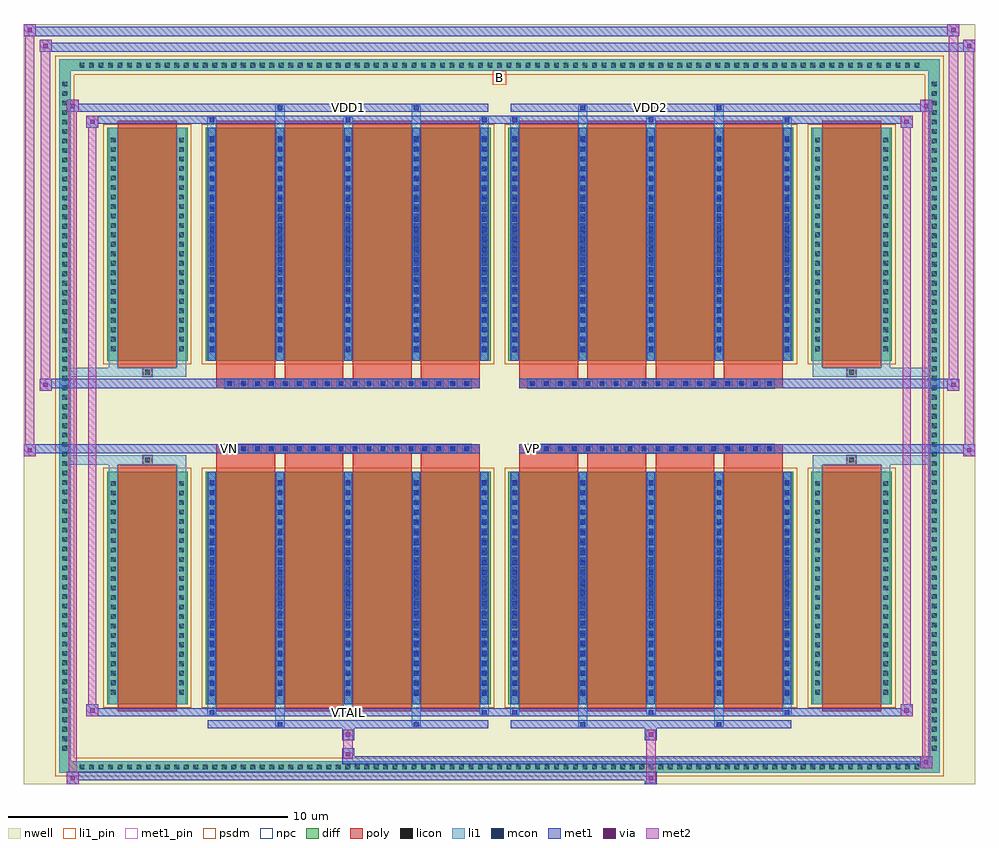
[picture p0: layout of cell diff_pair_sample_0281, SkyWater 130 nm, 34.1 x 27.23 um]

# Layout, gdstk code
import gdstk
lib = gdstk.Library(unit=1e-6, precision=5e-09)
def R(c, l, rs):  # rectangles x0, y0, x1, y1
    for r in rs: c.add(gdstk.rectangle(r[:2], r[2:], *l))
def A(c, l, x, y, w, h, nx, ny, dx, dy):  # array of equal rectangles
    R(c, l, [(x+i*dx, y+j*dy, x+i*dx+w, y+j*dy+h) for i in range(nx) for j in range(ny)])
def P(c, l, *ps):  # polygons
    for p in ps: c.add(gdstk.Polygon(p, *l))
nwell = (64, 20)
diff = (65, 20)
poly = (66, 20)
licon = (66, 44)
li1_pin = (67, 16)
li1 = (67, 20)
mcon = (67, 44)
met1_pin = (68, 16)
met1 = (68, 20)
via = (68, 44)
met2 = (69, 20)
psdm = (94, 20)
npc = (95, 20)

diff_pair_sample_0281 = lib.new_cell('diff_pair_sample_0281')
R(diff_pair_sample_0281, nwell, [(-17.05,-13.18,17.05,14.05), (-14.37,-11.37,-0.01,-0.805), (0.01,-11.37,14.37,-0.805), (-14.37,0.805,-0.01,11.37), (0.01,0.805,14.37,11.37)])
A(diff_pair_sample_0281, diff, -15.165, -12.78, 0.41, 0.41, 89, 2, 0.34, 25.15)
A(diff_pair_sample_0281, diff, -15.78, -12.105, 0.41, 0.41, 1, 71, 0, 0.34)
A(diff_pair_sample_0281, diff, 15.37, -12.105, 0.41, 0.41, 1, 71, 0, 0.34)
R(diff_pair_sample_0281, diff, [(-15.165,-12.78,15.165,-12.37), (-15.78,-12.105,-15.37,12.105), (15.37,-12.105,15.78,12.105), (-14.06,-10.325,-11.17,-1.985), (-10.53,-10.325,-0.32,-1.985), (0.32,-10.325,10.53,-1.985), (11.17,-10.325,14.06,-1.985), (-14.06,1.985,-11.17,10.325), (-10.53,1.985,-0.32,10.325), (0.32,1.985,10.53,10.325), (11.17,1.985,14.06,10.325), (-15.165,12.37,15.165,12.78)])
P(diff_pair_sample_0281, diff, [(15.78,12.78),(-15.78,12.78),(-15.78,-12.37),(-15.37,-12.37),(-15.37,12.37),(15.37,12.37),(15.37,-12.37),(-15.37,-12.37),(-15.78,-12.37),(-15.78,-12.78),(15.78,-12.78)])
A(diff_pair_sample_0281, poly, -10.14, -10.575, 2.11, 8.84, 4, 2, 2.44, 12.31)
A(diff_pair_sample_0281, poly, 0.71, -10.575, 2.11, 8.84, 4, 2, 2.44, 12.31)
A(diff_pair_sample_0281, poly, -10.14, -1.735, 2.11, 0.4, 4, 2, 2.44, 3.07)
A(diff_pair_sample_0281, poly, 0.71, -1.735, 2.11, 0.4, 4, 2, 2.44, 3.07)
A(diff_pair_sample_0281, poly, -9.84, -1.335, 0.33, 0.33, 18, 2, 0.5, 2.34)
A(diff_pair_sample_0281, poly, 1.01, -1.335, 0.33, 0.33, 18, 2, 0.5, 2.34)
R(diff_pair_sample_0281, poly, [(-13.67,-10.575,-11.56,-1.735), (11.56,-10.575,13.67,-1.735), (-12.78,-1.735,-12.45,-1.405), (-12.78,-1.735,-12.45,-1.405), (12.45,-1.735,12.78,-1.405), (12.45,-1.735,12.78,-1.405), (-10.14,-1.335,-0.71,-1.005), (0.71,-1.335,10.14,-1.005), (-10.14,1.005,-0.71,1.335), (0.71,1.005,10.14,1.335), (-12.78,1.405,-12.45,1.735), (-12.78,1.405,-12.45,1.735), (12.45,1.405,12.78,1.735), (12.45,1.405,12.78,1.735), (-13.67,1.735,-11.56,10.575), (11.56,1.735,13.67,10.575)])
A(diff_pair_sample_0281, licon, -15.045, -12.66, 0.17, 0.17, 89, 2, 0.34, 25.15)
A(diff_pair_sample_0281, licon, -15.66, -11.985, 0.17, 0.17, 1, 71, 0, 0.34)
A(diff_pair_sample_0281, licon, 15.49, -11.985, 0.17, 0.17, 1, 71, 0, 0.34)
A(diff_pair_sample_0281, licon, -13.92, -9.98, 0.17, 0.17, 1, 23, 0, 0.34)
A(diff_pair_sample_0281, licon, -11.48, -9.98, 0.17, 0.17, 1, 23, 0, 0.34)
A(diff_pair_sample_0281, licon, -10.39, -9.98, 0.17, 0.17, 5, 23, 2.44, 0.34)
A(diff_pair_sample_0281, licon, 0.46, -9.98, 0.17, 0.17, 5, 23, 2.44, 0.34)
A(diff_pair_sample_0281, licon, 11.31, -9.98, 0.17, 0.17, 1, 23, 0, 0.34)
A(diff_pair_sample_0281, licon, 13.75, -9.98, 0.17, 0.17, 1, 23, 0, 0.34)
A(diff_pair_sample_0281, licon, -9.76, -1.255, 0.17, 0.17, 18, 2, 0.5, 2.34)
A(diff_pair_sample_0281, licon, 1.09, -1.255, 0.17, 0.17, 18, 2, 0.5, 2.34)
A(diff_pair_sample_0281, licon, -13.92, 2.33, 0.17, 0.17, 1, 23, 0, 0.34)
A(diff_pair_sample_0281, licon, -11.48, 2.33, 0.17, 0.17, 1, 23, 0, 0.34)
A(diff_pair_sample_0281, licon, -10.39, 2.33, 0.17, 0.17, 5, 23, 2.44, 0.34)
A(diff_pair_sample_0281, licon, 0.46, 2.33, 0.17, 0.17, 5, 23, 2.44, 0.34)
A(diff_pair_sample_0281, licon, 11.31, 2.33, 0.17, 0.17, 1, 23, 0, 0.34)
A(diff_pair_sample_0281, licon, 13.75, 2.33, 0.17, 0.17, 1, 23, 0, 0.34)
R(diff_pair_sample_0281, licon, [(-12.7,-1.655,-12.53,-1.485), (12.53,-1.655,12.7,-1.485), (-12.7,1.485,-12.53,1.655), (12.53,1.485,12.7,1.655)])
R(diff_pair_sample_0281, li1_pin, [(-0.25,11.87,0.25,12.37)])
A(diff_pair_sample_0281, li1, -15.125, -12.74, 0.33, 0.33, 89, 2, 0.34, 25.15)
A(diff_pair_sample_0281, li1, -15.74, -12.065, 0.33, 0.33, 1, 71, 0, 0.34)
A(diff_pair_sample_0281, li1, 15.41, -12.065, 0.33, 0.33, 1, 71, 0, 0.34)
A(diff_pair_sample_0281, li1, -10.47, -10.7, 0.33, 0.375, 3, 2, 4.88, 21.025)
A(diff_pair_sample_0281, li1, -10.39, -10.7, 0.17, 0.17, 3, 2, 4.88, 21.23)
A(diff_pair_sample_0281, li1, 0.38, -10.7, 0.33, 0.375, 3, 2, 4.88, 21.025)
A(diff_pair_sample_0281, li1, 0.46, -10.7, 0.17, 0.17, 3, 2, 4.88, 21.23)
A(diff_pair_sample_0281, li1, -10.47, -10.325, 0.33, 8.34, 5, 2, 2.44, 12.31)
A(diff_pair_sample_0281, li1, 0.38, -10.325, 0.33, 8.34, 5, 2, 2.44, 12.31)
A(diff_pair_sample_0281, li1, -14, -10.06, 0.33, 0.33, 1, 23, 0, 0.34)
A(diff_pair_sample_0281, li1, -11.56, -10.06, 0.33, 0.33, 1, 23, 0, 0.34)
A(diff_pair_sample_0281, li1, -10.47, -10.06, 0.33, 0.33, 5, 23, 2.44, 0.34)
A(diff_pair_sample_0281, li1, 0.38, -10.06, 0.33, 0.33, 5, 23, 2.44, 0.34)
A(diff_pair_sample_0281, li1, 11.23, -10.06, 0.33, 0.33, 1, 23, 0, 0.34)
A(diff_pair_sample_0281, li1, 13.67, -10.06, 0.33, 0.33, 1, 23, 0, 0.34)
A(diff_pair_sample_0281, li1, -10.39, -10.02, 0.17, 0.17, 5, 22, 2.44, 0.36)
A(diff_pair_sample_0281, li1, -10.39, -10.02, 0.17, 7.73, 5, 2, 2.44, 12.31)
A(diff_pair_sample_0281, li1, 0.46, -10.02, 0.17, 0.17, 5, 22, 2.44, 0.36)
A(diff_pair_sample_0281, li1, 0.46, -10.02, 0.17, 7.73, 5, 2, 2.44, 12.31)
A(diff_pair_sample_0281, li1, -9.84, -1.335, 0.33, 0.33, 18, 2, 0.5, 2.34)
A(diff_pair_sample_0281, li1, 1.01, -1.335, 0.33, 0.33, 18, 2, 0.5, 2.34)
A(diff_pair_sample_0281, li1, -14, 2.25, 0.33, 0.33, 1, 23, 0, 0.34)
A(diff_pair_sample_0281, li1, -11.56, 2.25, 0.33, 0.33, 1, 23, 0, 0.34)
A(diff_pair_sample_0281, li1, -10.47, 2.25, 0.33, 0.33, 5, 23, 2.44, 0.34)
A(diff_pair_sample_0281, li1, 0.38, 2.25, 0.33, 0.33, 5, 23, 2.44, 0.34)
A(diff_pair_sample_0281, li1, 11.23, 2.25, 0.33, 0.33, 1, 23, 0, 0.34)
A(diff_pair_sample_0281, li1, 13.67, 2.25, 0.33, 0.33, 1, 23, 0, 0.34)
A(diff_pair_sample_0281, li1, -10.39, 2.29, 0.17, 0.17, 5, 22, 2.44, 0.36)
A(diff_pair_sample_0281, li1, 0.46, 2.29, 0.17, 0.17, 5, 22, 2.44, 0.36)
R(diff_pair_sample_0281, li1, [(-15.78,-12.78,-15.37,-12.37), (-15.78,-12.78,-15.37,-12.37), (-15.37,-12.78,15.37,-12.37), (15.37,-12.78,15.78,-12.37), (15.37,-12.78,15.78,-12.37), (-15.78,-12.37,-15.37,12.37), (15.37,-12.37,15.78,12.37), (-8.03,-11.13,-7.7,-10.325), (-7.95,-11.13,-7.78,-10.96), (-3.15,-11.13,-2.82,-10.325), (-3.07,-11.13,-2.9,-10.96), (2.82,-11.13,3.15,-10.325), (2.9,-11.13,3.07,-10.96), (7.7,-11.13,8.03,-10.325), (7.78,-11.13,7.95,-10.96), (-14,-10.325,-13.67,-1.985), (-11.56,-10.325,-11.23,-1.985), (11.23,-10.325,11.56,-1.985), (13.67,-10.325,14,-1.985), (-14,-1.985,-13.67,-1.405), (-11.56,-1.985,-11.23,-1.405), (11.23,-1.985,11.56,-1.405), (13.67,-1.985,14,-1.405), (-15.78,-1.735,-12.78,-1.405), (-14,-1.735,-12.78,-1.405), (-12.78,-1.735,-12.45,-1.405), (-12.45,-1.735,-11.23,-1.405), (11.23,-1.735,12.45,-1.405), (12.45,-1.735,12.78,-1.405), (12.45,-1.735,15.78,-1.405), (12.78,-1.735,14,-1.405), (-15.78,1.405,-12.78,1.735), (-14,1.405,-12.78,1.735), (-14,1.405,-13.67,1.985), (-12.78,1.405,-12.45,1.735), (-12.45,1.405,-11.23,1.735), (-11.56,1.405,-11.23,1.985), (11.23,1.405,12.45,1.735), (11.23,1.405,11.56,1.985), (12.45,1.405,12.78,1.735), (12.45,1.405,15.78,1.735), (12.78,1.405,14,1.735), (13.67,1.405,14,1.985), (-14,1.985,-13.67,10.325), (-11.56,1.985,-11.23,10.325), (11.23,1.985,11.56,10.325), (13.67,1.985,14,10.325), (-8.03,10.325,-7.7,11.13), (-3.15,10.325,-2.82,11.13), (2.82,10.325,3.15,11.13), (7.7,10.325,8.03,11.13), (-7.95,10.96,-7.78,11.13), (-3.07,10.96,-2.9,11.13), (2.9,10.96,3.07,11.13), (7.78,10.96,7.95,11.13), (-15.78,12.37,-15.37,12.78), (-15.78,12.37,-15.37,12.78), (-15.37,12.37,15.37,12.78), (15.37,12.37,15.78,12.78), (15.37,12.37,15.78,12.78)])
A(diff_pair_sample_0281, mcon, -10.39, -10.7, 0.17, 0.17, 3, 2, 4.88, 21.23)
A(diff_pair_sample_0281, mcon, 0.46, -10.7, 0.17, 0.17, 3, 2, 4.88, 21.23)
A(diff_pair_sample_0281, mcon, -10.39, -10.02, 0.17, 0.17, 5, 22, 2.44, 0.36)
A(diff_pair_sample_0281, mcon, 0.46, -10.02, 0.17, 0.17, 5, 22, 2.44, 0.36)
A(diff_pair_sample_0281, mcon, -9.76, -1.255, 0.17, 0.17, 18, 2, 0.5, 2.34)
A(diff_pair_sample_0281, mcon, 1.09, -1.255, 0.17, 0.17, 18, 2, 0.5, 2.34)
A(diff_pair_sample_0281, mcon, -10.39, 2.29, 0.17, 0.17, 5, 22, 2.44, 0.36)
A(diff_pair_sample_0281, mcon, 0.46, 2.29, 0.17, 0.17, 5, 22, 2.44, 0.36)
R(diff_pair_sample_0281, mcon, [(-7.95,-11.13,-7.78,-10.96), (-3.07,-11.13,-2.9,-10.96), (2.9,-11.13,3.07,-10.96), (7.78,-11.13,7.95,-10.96), (-7.95,10.96,-7.78,11.13), (-3.07,10.96,-2.9,11.13), (2.9,10.96,3.07,11.13), (7.78,10.96,7.95,11.13)])
R(diff_pair_sample_0281, met1_pin, [(-5.56,-10.74,-5.29,-10.47), (-9.81,-1.295,-9.54,-1.025), (1.04,-1.295,1.31,-1.025), (-5.56,10.92,-5.29,11.19), (5.29,10.92,5.56,11.19)])
A(diff_pair_sample_0281, met1, -10.45, -10.76, 0.29, 0.29, 3, 2, 4.88, 21.23)
A(diff_pair_sample_0281, met1, 0.4, -10.76, 0.29, 0.29, 3, 2, 4.88, 21.23)
A(diff_pair_sample_0281, met1, -10.45, -10.325, 0.29, 8.34, 5, 2, 2.44, 12.31)
A(diff_pair_sample_0281, met1, 0.4, -10.325, 0.29, 8.34, 5, 2, 2.44, 12.31)
A(diff_pair_sample_0281, met1, -10.45, -10.08, 0.29, 0.29, 5, 22, 2.44, 0.36)
A(diff_pair_sample_0281, met1, 0.4, -10.08, 0.29, 0.29, 5, 22, 2.44, 0.36)
A(diff_pair_sample_0281, met1, -9.82, -1.315, 0.29, 0.29, 18, 2, 0.5, 2.34)
A(diff_pair_sample_0281, met1, 1.03, -1.315, 0.29, 0.29, 18, 2, 0.5, 2.34)
A(diff_pair_sample_0281, met1, -10.45, 2.23, 0.29, 0.29, 5, 22, 2.44, 0.36)
A(diff_pair_sample_0281, met1, 0.4, 2.23, 0.29, 0.29, 5, 22, 2.44, 0.36)
R(diff_pair_sample_0281, met1, [(-15.51,-13.18,-15.08,-12.75), (5.21,-13.18,5.64,-12.75), (-15.51,-13.04,5.64,-12.75), (15.08,-12.61,15.51,-12.18), (-5.64,-12.47,15.51,-12.18), (-5.64,-12.33,-5.21,-11.9), (-5.64,-11.62,-5.21,-11.19), (5.21,-11.62,5.64,-11.19), (-10.45,-11.19,-0.4,-10.9), (-8.01,-11.19,-7.72,-10.9), (-3.13,-11.19,-2.84,-10.9), (0.4,-11.19,10.45,-10.9), (2.84,-11.19,3.13,-10.9), (7.72,-11.19,8.01,-10.9), (-14.8,-10.76,-14.37,-10.33), (-14.8,-10.76,-10.45,-10.47), (-10.45,-10.76,-0.4,-10.47), (-0.4,-10.76,0.4,-10.47), (0.4,-10.76,10.45,-10.47), (10.45,-10.76,14.8,-10.47), (14.37,-10.76,14.8,-10.33), (-17.05,-1.435,-16.62,-1.005), (16.62,-1.435,17.05,-1.005), (-17.05,-1.335,-0.71,-1.005), (-10.14,-1.335,-0.71,-1.005), (0.71,-1.335,10.14,-1.005), (0.71,-1.335,17.05,-1.005), (-16.48,0.905,-16.05,1.335), (16.05,0.905,16.48,1.335), (-16.48,1.005,-10.14,1.335), (-10.14,1.005,-0.71,1.335), (0.71,1.005,10.14,1.335), (10.14,1.005,16.48,1.335), (-14.8,10.33,-14.37,10.76), (14.37,10.33,14.8,10.76), (-14.8,10.47,-10.45,10.76), (-10.45,10.47,-0.4,10.76), (-0.4,10.47,0.4,10.76), (0.4,10.47,10.45,10.76), (10.45,10.47,14.8,10.76), (-15.51,10.9,-15.08,11.33), (-15.51,10.9,-10.45,11.19), (-10.45,10.9,-0.4,11.19), (-8.01,10.9,-7.72,11.19), (-3.13,10.9,-2.84,11.19), (0.4,10.9,10.45,11.19), (2.84,10.9,3.13,11.19), (7.72,10.9,8.01,11.19), (10.45,10.9,15.51,11.19), (15.08,10.9,15.51,11.33), (-16.48,13.05,-16.05,13.48), (-16.48,13.05,-14.37,13.38), (-14.37,13.05,14.37,13.38), (14.37,13.05,17.05,13.38), (16.62,13.05,17.05,13.48), (-17.05,13.62,-16.62,14.05), (-17.05,13.62,-14.37,13.95), (-14.37,13.62,14.37,13.95), (14.37,13.62,16.48,13.95), (16.05,13.62,16.48,14.05)])
R(diff_pair_sample_0281, via, [(-15.37,-13.04,-15.22,-12.89), (5.35,-13.04,5.5,-12.89), (15.22,-12.47,15.37,-12.32), (-5.5,-12.19,-5.35,-12.04), (-5.5,-11.48,-5.35,-11.33), (5.35,-11.48,5.5,-11.33), (-14.66,-10.62,-14.51,-10.47), (14.51,-10.62,14.66,-10.47), (-16.91,-1.295,-16.76,-1.145), (16.76,-1.295,16.91,-1.145), (-16.34,1.045,-16.19,1.195), (16.19,1.045,16.34,1.195), (-14.66,10.47,-14.51,10.62), (14.51,10.47,14.66,10.62), (-15.37,11.04,-15.22,11.19), (15.22,11.04,15.37,11.19), (-16.34,13.19,-16.19,13.34), (16.76,13.19,16.91,13.34), (-16.91,13.76,-16.76,13.91), (16.19,13.76,16.34,13.91)])
R(diff_pair_sample_0281, met2, [(-15.51,-13.18,-15.08,-12.75), (-15.44,-13.18,-15.15,11.33), (-15.15,-13.18,-15.08,-12.75), (-15.46,-13.13,-15.13,-12.8), (5.26,-13.13,5.59,-12.8), (5.26,-12.8,5.59,-11.57), (15.08,-12.61,15.51,-12.18), (15.15,-12.61,15.44,11.33), (15.44,-12.61,15.51,-12.18), (15.13,-12.56,15.46,-12.23), (-5.59,-12.28,-5.26,-11.95), (-5.59,-11.95,-5.26,-11.57), (-5.59,-11.57,-5.26,-11.24), (5.26,-11.57,5.59,-11.24), (-14.8,-10.76,-14.37,-10.33), (-14.73,-10.76,-14.44,10.76), (-14.44,-10.76,-14.37,-10.33), (14.37,-10.76,14.8,-10.33), (14.44,-10.76,14.73,10.76), (14.73,-10.76,14.8,-10.33), (-14.75,-10.71,-14.42,-10.38), (14.42,-10.71,14.75,-10.38), (-17.05,-1.435,-16.62,-1.005), (-17,-1.435,-16.67,14.05), (-16.67,-1.435,-16.62,-1.005), (16.62,-1.435,17.05,-1.005), (16.67,-1.435,17,13.48), (17,-1.435,17.05,-1.005), (-17,-1.385,-16.67,-1.055), (16.67,-1.385,17,-1.055), (-16.48,0.905,-16.05,1.335), (-16.43,0.905,-16.1,13.48), (-16.1,0.905,-16.05,1.335), (16.05,0.905,16.48,1.335), (16.1,0.905,16.43,14.05), (16.43,0.905,16.48,1.335), (-16.43,0.955,-16.1,1.285), (16.1,0.955,16.43,1.285), (-14.8,10.33,-14.37,10.76), (-14.44,10.33,-14.37,10.76), (14.37,10.33,14.8,10.76), (14.73,10.33,14.8,10.76), (-14.75,10.38,-14.42,10.71), (14.42,10.38,14.75,10.71), (-15.51,10.9,-15.08,11.33), (-15.15,10.9,-15.08,11.33), (15.08,10.9,15.51,11.33), (15.44,10.9,15.51,11.33), (-15.46,10.95,-15.13,11.28), (15.13,10.95,15.46,11.28), (-16.48,13.05,-16.05,13.48), (-16.1,13.05,-16.05,13.48), (16.62,13.05,17.05,13.48), (17,13.05,17.05,13.48), (-16.43,13.1,-16.1,13.43), (16.67,13.1,17,13.43), (-17.05,13.62,-16.62,14.05), (-16.67,13.62,-16.62,14.05), (16.05,13.62,16.48,14.05), (16.43,13.62,16.48,14.05), (-17,13.67,-16.67,14), (16.1,13.67,16.43,14)])
R(diff_pair_sample_0281, psdm, [(-14.19,-10.455,-11.04,-1.855), (-10.66,-10.455,-0.19,-1.855), (0.19,-10.455,10.66,-1.855), (11.04,-10.455,14.19,-1.855), (-14.19,1.855,-11.04,10.455), (-10.66,1.855,-0.19,10.455), (0.19,1.855,10.66,10.455), (11.04,1.855,14.19,10.455)])
P(diff_pair_sample_0281, psdm, [(15.91,12.91),(-15.91,12.91),(-15.91,-12.24),(-15.24,-12.24),(-15.24,12.24),(15.24,12.24),(15.24,-12.24),(-15.24,-12.24),(-15.91,-12.24),(-15.91,-12.91),(15.91,-12.91)])
A(diff_pair_sample_0281, npc, -9.86, -1.355, 0.37, 0.37, 18, 2, 0.5, 2.34)
A(diff_pair_sample_0281, npc, 0.99, -1.355, 0.37, 0.37, 18, 2, 0.5, 2.34)
R(diff_pair_sample_0281, npc, [(-12.8,-1.755,-12.43,-1.385), (12.43,-1.755,12.8,-1.385), (-9.86,-1.355,-8.99,-0.985), (-9.86,-1.355,-8.99,-0.985), (-9.36,-1.355,-8.49,-0.985), (-9.36,-1.355,-8.49,-0.985), (-8.86,-1.355,-7.99,-0.985), (-8.86,-1.355,-7.99,-0.985), (-8.36,-1.355,-7.49,-0.985), (-8.36,-1.355,-7.49,-0.985), (-7.86,-1.355,-6.99,-0.985), (-7.86,-1.355,-6.99,-0.985), (-7.36,-1.355,-6.49,-0.985), (-7.36,-1.355,-6.49,-0.985), (-6.86,-1.355,-5.99,-0.985), (-6.86,-1.355,-5.99,-0.985), (-6.36,-1.355,-5.49,-0.985), (-6.36,-1.355,-5.49,-0.985), (-5.86,-1.355,-4.99,-0.985), (-5.86,-1.355,-4.99,-0.985), (-5.36,-1.355,-4.49,-0.985), (-5.36,-1.355,-4.49,-0.985), (-4.86,-1.355,-3.99,-0.985), (-4.86,-1.355,-3.99,-0.985), (-4.36,-1.355,-3.49,-0.985), (-4.36,-1.355,-3.49,-0.985), (-3.86,-1.355,-2.99,-0.985), (-3.86,-1.355,-2.99,-0.985), (-3.36,-1.355,-2.49,-0.985), (-3.36,-1.355,-2.49,-0.985), (-2.86,-1.355,-1.99,-0.985), (-2.86,-1.355,-1.99,-0.985), (-2.36,-1.355,-1.49,-0.985), (-2.36,-1.355,-1.49,-0.985), (-1.86,-1.355,-0.99,-0.985), (-1.86,-1.355,-0.99,-0.985), (0.99,-1.355,1.86,-0.985), (0.99,-1.355,1.86,-0.985), (1.49,-1.355,2.36,-0.985), (1.49,-1.355,2.36,-0.985), (1.99,-1.355,2.86,-0.985), (1.99,-1.355,2.86,-0.985), (2.49,-1.355,3.36,-0.985), (2.49,-1.355,3.36,-0.985), (2.99,-1.355,3.86,-0.985), (2.99,-1.355,3.86,-0.985), (3.49,-1.355,4.36,-0.985), (3.49,-1.355,4.36,-0.985), (3.99,-1.355,4.86,-0.985), (3.99,-1.355,4.86,-0.985), (4.49,-1.355,5.36,-0.985), (4.49,-1.355,5.36,-0.985), (4.99,-1.355,5.86,-0.985), (4.99,-1.355,5.86,-0.985), (5.49,-1.355,6.36,-0.985), (5.49,-1.355,6.36,-0.985), (5.99,-1.355,6.86,-0.985), (5.99,-1.355,6.86,-0.985), (6.49,-1.355,7.36,-0.985), (6.49,-1.355,7.36,-0.985), (6.99,-1.355,7.86,-0.985), (6.99,-1.355,7.86,-0.985), (7.49,-1.355,8.36,-0.985), (7.49,-1.355,8.36,-0.985), (7.99,-1.355,8.86,-0.985), (7.99,-1.355,8.86,-0.985), (8.49,-1.355,9.36,-0.985), (8.49,-1.355,9.36,-0.985), (8.99,-1.355,9.86,-0.985), (8.99,-1.355,9.86,-0.985), (-9.86,0.985,-8.99,1.355), (-9.86,0.985,-8.99,1.355), (-9.36,0.985,-8.49,1.355), (-9.36,0.985,-8.49,1.355), (-8.86,0.985,-7.99,1.355), (-8.86,0.985,-7.99,1.355), (-8.36,0.985,-7.49,1.355), (-8.36,0.985,-7.49,1.355), (-7.86,0.985,-6.99,1.355), (-7.86,0.985,-6.99,1.355), (-7.36,0.985,-6.49,1.355), (-7.36,0.985,-6.49,1.355), (-6.86,0.985,-5.99,1.355), (-6.86,0.985,-5.99,1.355), (-6.36,0.985,-5.49,1.355), (-6.36,0.985,-5.49,1.355), (-5.86,0.985,-4.99,1.355), (-5.86,0.985,-4.99,1.355), (-5.36,0.985,-4.49,1.355), (-5.36,0.985,-4.49,1.355), (-4.86,0.985,-3.99,1.355), (-4.86,0.985,-3.99,1.355), (-4.36,0.985,-3.49,1.355), (-4.36,0.985,-3.49,1.355), (-3.86,0.985,-2.99,1.355), (-3.86,0.985,-2.99,1.355), (-3.36,0.985,-2.49,1.355), (-3.36,0.985,-2.49,1.355), (-2.86,0.985,-1.99,1.355), (-2.86,0.985,-1.99,1.355), (-2.36,0.985,-1.49,1.355), (-2.36,0.985,-1.49,1.355), (-1.86,0.985,-0.99,1.355), (-1.86,0.985,-0.99,1.355), (0.99,0.985,1.86,1.355), (0.99,0.985,1.86,1.355), (1.49,0.985,2.36,1.355), (1.49,0.985,2.36,1.355), (1.99,0.985,2.86,1.355), (1.99,0.985,2.86,1.355), (2.49,0.985,3.36,1.355), (2.49,0.985,3.36,1.355), (2.99,0.985,3.86,1.355), (2.99,0.985,3.86,1.355), (3.49,0.985,4.36,1.355), (3.49,0.985,4.36,1.355), (3.99,0.985,4.86,1.355), (3.99,0.985,4.86,1.355), (4.49,0.985,5.36,1.355), (4.49,0.985,5.36,1.355), (4.99,0.985,5.86,1.355), (4.99,0.985,5.86,1.355), (5.49,0.985,6.36,1.355), (5.49,0.985,6.36,1.355), (5.99,0.985,6.86,1.355), (5.99,0.985,6.86,1.355), (6.49,0.985,7.36,1.355), (6.49,0.985,7.36,1.355), (6.99,0.985,7.86,1.355), (6.99,0.985,7.86,1.355), (7.49,0.985,8.36,1.355), (7.49,0.985,8.36,1.355), (7.99,0.985,8.86,1.355), (7.99,0.985,8.86,1.355), (8.49,0.985,9.36,1.355), (8.49,0.985,9.36,1.355), (8.99,0.985,9.86,1.355), (8.99,0.985,9.86,1.355), (-12.8,1.385,-12.43,1.755), (12.43,1.385,12.8,1.755)])
diff_pair_sample_0281.add(gdstk.Label('VTAIL', (-5.425,-10.605), layer=68, texttype=5))
diff_pair_sample_0281.add(gdstk.Label('VN', (-9.675,-1.16), layer=68, texttype=5))
diff_pair_sample_0281.add(gdstk.Label('VP', (1.175,-1.16), layer=68, texttype=5))
diff_pair_sample_0281.add(gdstk.Label('B', (0,12.12), layer=67, texttype=5))
diff_pair_sample_0281.add(gdstk.Label('VDD2', (5.425,11.055), layer=68, texttype=5))
diff_pair_sample_0281.add(gdstk.Label('VDD1', (-5.425,11.055), layer=68, texttype=5))

lib.write_gds('diff_pair_sample_0281.gds')
